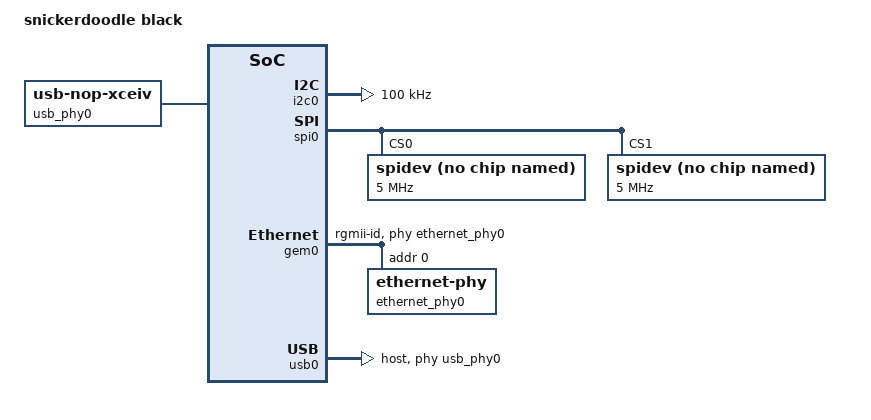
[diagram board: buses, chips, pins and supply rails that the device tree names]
/**
 * Copyright (c) 2016 krtkl inc.
 *
 * snickerdoodle black birddog studio testing device tree source
 *
 * This program is free software; you can redistribute it and/or modify it
 * under the terms of the GNU General Public License version 2 as published by
 * the Free Software Foundation.
 */

/dts-v1/;
/include/ "snickerdoodle-black.dtsi"

/ {
	model = "snickerdoodle black";

	aliases {
		ethernet0 = &gem0;
		spi2 = &spi0;
	};

        usb_phy0: phy0 {
                compatible = "usb-nop-xceiv";
                #phy-cells = <0>;
        };
};

&i2c0 {
	status = "okay";
	clock-frequency = <100000>;
};

&spi0 {
	status = "okay";
	
	spidev@0 {
		compatible = "spidev";
		spi-max-frequency = <5000000>;
		reg = <0>;
	};

	spidev@1 {
		compatible = "spidev";
		spi-max-frequency = <5000000>;
		reg = <1>;
	};
};

&gem0 {
	status = "okay";
	phy-handle = <&ethernet_phy0>;
	phy-mode = "rgmii-id";

	ethernet_phy0: ethernet-phy@0 {
		device_type = "ethernet-phy";
		reg = <0>;
	};
};

&usb0 {
	status = "okay";
	dr_mode = "host";
	usb-phy = <&usb_phy0>;
};


&amba {
	strm_ctrl: strm_ctrl@43c00000 {
		compatible = "krtkl,generic-uio,ui_pdrv";
		reg = <0x43c00000 0x10000>;
		interrupt-parent = <&intc>;
		interrupts = <0 29 4>;
	};
};
